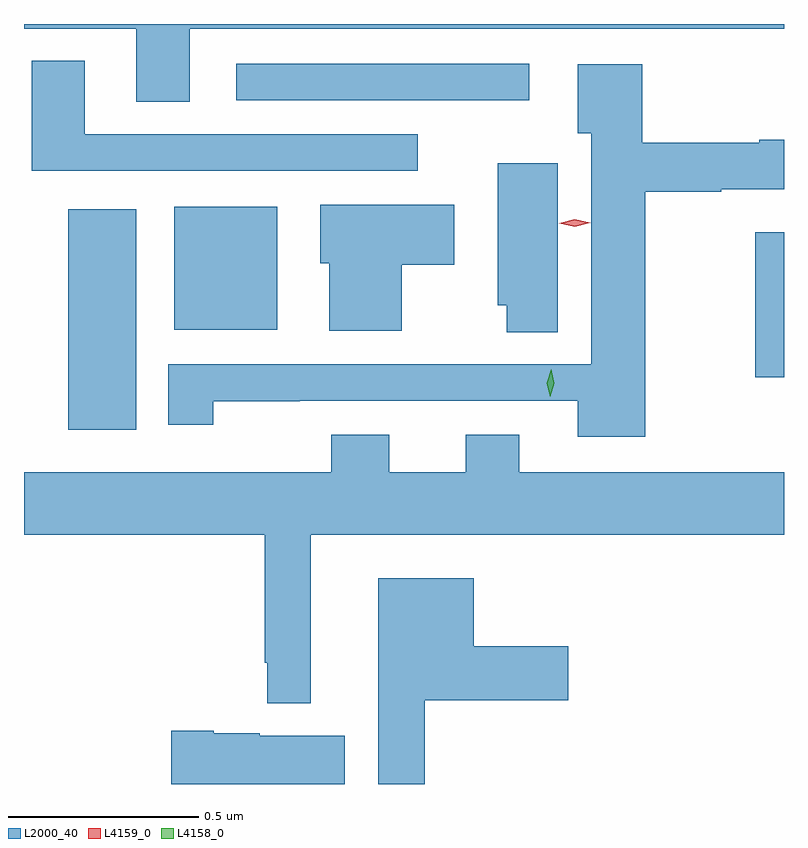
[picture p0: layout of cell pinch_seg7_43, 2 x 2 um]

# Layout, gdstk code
import gdstk
lib = gdstk.Library(unit=1e-6, precision=1e-09)
def R(c, l, rs):  # rectangles x0, y0, x1, y1
    for r in rs: c.add(gdstk.rectangle(r[:2], r[2:], *l))
def P(c, l, *ps):  # polygons
    for p in ps: c.add(gdstk.Polygon(p, *l))
L2000_40 = (2000, 40)
L4158_0 = (4158, 0)
L4159_0 = (4159, 0)

pinch_seg7_43 = lib.new_cell('pinch_seg7_43')
R(pinch_seg7_43, L2000_40, [(1045.313,1047.512,1045.492,1048.093), (1047.121,1047.651,1047.197,1048.032), (1045.592,1047.776,1045.864,1048.099), (1045.755,1048.38,1046.527,1048.476)])
P(pinch_seg7_43, L2000_40, [(1045.633,1048.568),(1047.197,1048.568),(1047.197,1048.58),(1045.197,1048.58),(1045.197,1048.568),(1045.493,1048.568),(1045.493,1048.375),(1045.633,1048.375)],
  [(1046.233,1048.29),(1045.357,1048.29),(1045.357,1048.483),(1045.217,1048.483),(1045.217,1048.194),(1046.233,1048.194)],
  [(1046.832,1048.138),(1047.032,1048.138),(1047.032,1048.145),(1047.197,1048.145),(1047.197,1048.275),(1047.132,1048.275),(1047.132,1048.267),(1046.824,1048.267),(1046.824,1048.474),(1046.654,1048.474),(1046.654,1048.292),(1046.69,1048.292),(1046.69,1047.684),(1045.577,1047.684),(1045.577,1047.525),(1045.695,1047.525),(1045.695,1047.587),(1045.922,1047.587),(1045.922,1047.588),(1046.654,1047.588),(1046.654,1047.494),(1046.832,1047.494)],
  [(1046.602,1048.213),(1046.444,1048.213),(1046.444,1047.84),(1046.468,1047.84),(1046.468,1047.769),(1046.602,1047.769)],
  [(1046.191,1047.947),(1046.329,1047.947),(1046.329,1048.105),(1045.976,1048.105),(1045.976,1047.951),(1046,1047.951),(1046,1047.773),(1046.191,1047.773)],
  [(1045.951,1047.236),(1047.197,1047.236),(1047.197,1047.4),(1046.5,1047.4),(1046.5,1047.499),(1046.36,1047.499),(1046.36,1047.4),(1046.158,1047.4),(1046.158,1047.499),(1046.006,1047.499),(1046.006,1047.4),(1045.197,1047.4),(1045.197,1047.236),(1045.83,1047.236),(1045.83,1046.899),(1045.837,1046.899),(1045.837,1046.792),(1045.951,1046.792)],
  [(1046.251,1046.801),(1046.629,1046.801),(1046.629,1046.943),(1046.38,1046.943),(1046.38,1047.121),(1046.129,1047.121),(1046.129,1046.58),(1046.251,1046.58)],
  [(1046.041,1046.707),(1045.818,1046.707),(1045.818,1046.713),(1045.696,1046.713),(1045.696,1046.72),(1045.584,1046.72),(1045.584,1046.58),(1046.041,1046.58)])
P(pinch_seg7_43, L4158_0, [(1046.582,1047.599),(1046.582,1047.599),(1046.573,1047.635),(1046.584,1047.671),(1046.585,1047.671),(1046.585,1047.671),(1046.593,1047.634),(1046.582,1047.599)])
P(pinch_seg7_43, L4159_0, [(1046.646,1048.046),(1046.605,1048.056),(1046.605,1048.056),(1046.605,1048.056),(1046.646,1048.066),(1046.687,1048.057),(1046.687,1048.057),(1046.687,1048.057)])

lib.write_gds('pinch_seg7_43.gds')
